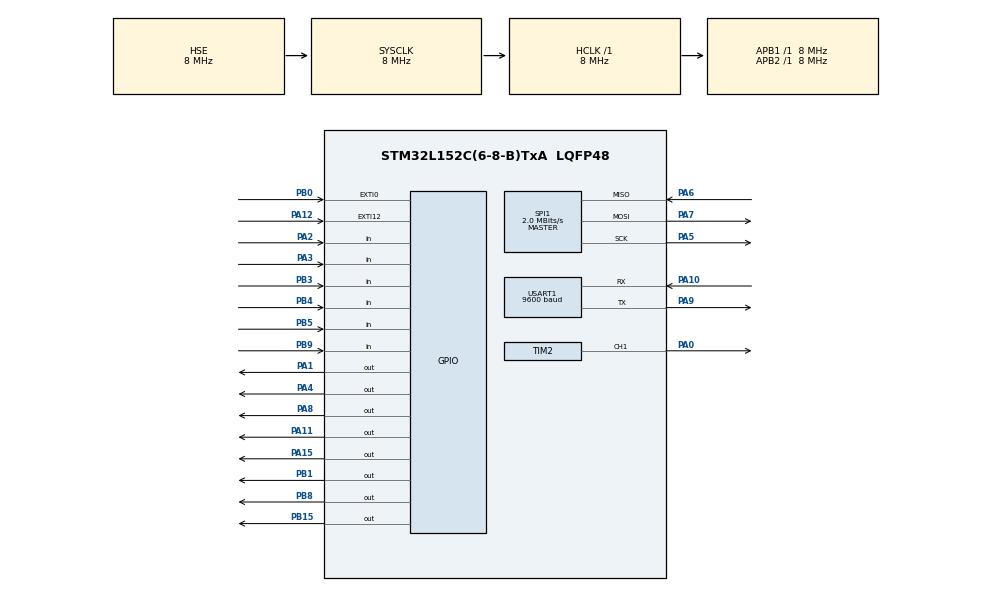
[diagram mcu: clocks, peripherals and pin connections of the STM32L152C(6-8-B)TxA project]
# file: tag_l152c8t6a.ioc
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Mcu.Family=STM32L1
Mcu.Name=STM32L152C(6-8-B)TxA
Mcu.Package=LQFP48
NVIC.EXTI0_IRQn=true\:0\:0\:false\:false\:true\:true\:true
NVIC.EXTI15_10_IRQn=true\:0\:0\:false\:false\:true\:true\:true
NVIC.PriorityGroup=NVIC_PRIORITYGROUP_4
NVIC.TIM4_IRQn=true\:0\:0\:false\:false\:true\:true\:true
NVIC.TIM6_IRQn=true\:0\:0\:false\:false\:true\:true\:true
NVIC.USART1_IRQn=true\:0\:0\:false\:false\:true\:true\:true
PA0-WKUP1.Signal=S_TIM2_CH1_ETR
PA1.GPIO_Speed=GPIO_SPEED_FREQ_VERY_HIGH
PA1.Signal=GPIO_Output
PA10.Mode=Asynchronous
PA10.Signal=USART1_RX
PA11.GPIO_PuPd=GPIO_PULLDOWN
PA11.GPIO_Speed=GPIO_SPEED_FREQ_VERY_HIGH
PA11.PinState=GPIO_PIN_RESET
PA11.Signal=GPIO_Output
PA12.Signal=GPXTI12
PA13.Mode=Serial_Wire
PA13.Signal=SYS_JTMS-SWDIO
PA14.Mode=Serial_Wire
PA14.Signal=SYS_JTCK-SWCLK
PA15.GPIO_Speed=GPIO_SPEED_FREQ_VERY_HIGH
PA15.Signal=GPIO_Output
PA2.Signal=GPIO_Input
PA3.Signal=GPIO_Input
PA4.Signal=GPIO_Output
PA5.Mode=Full_Duplex_Master
PA5.Signal=SPI1_SCK
PA6.Mode=Full_Duplex_Master
PA6.Signal=SPI1_MISO
PA7.Mode=Full_Duplex_Master
PA7.Signal=SPI1_MOSI
PA8.GPIO_PuPd=GPIO_PULLUP
PA8.GPIO_Speed=GPIO_SPEED_FREQ_HIGH
PA8.PinState=GPIO_PIN_SET
PA8.Signal=GPIO_Output
PA9.Mode=Asynchronous
PA9.Signal=USART1_TX
PB0.Signal=GPXTI0
PB1.GPIO_PuPd=GPIO_PULLUP
PB1.GPIO_Speed=GPIO_SPEED_FREQ_HIGH
PB1.PinState=GPIO_PIN_SET
PB1.Signal=GPIO_Output
PB15.Signal=GPIO_Output
PB3.Signal=GPIO_Input
PB4.Signal=GPIO_Input
PB5.Signal=GPIO_Input
PB8.GPIO_Speed=GPIO_SPEED_FREQ_VERY_HIGH
PB8.Signal=GPIO_Output
PB9.Signal=GPIO_Input
PH0-OSC_IN.Mode=HSE-External-Oscillator
PH0-OSC_IN.Signal=RCC_OSC_IN
PH1-OSC_OUT.Mode=HSE-External-Oscillator
PH1-OSC_OUT.Signal=RCC_OSC_OUT
ProjectManager.HeapSize=0x200
ProjectManager.StackSize=0x400
ProjectManager.TargetToolchain=MDK-ARM V5
RCC.48MHZClocksFreq_Value=24000000
RCC.AHBFreq_Value=8000000
RCC.APB1Freq_Value=8000000
RCC.APB1TimFreq_Value=8000000
RCC.APB2Freq_Value=8000000
RCC.APB2TimFreq_Value=8000000
RCC.HCLKFreq_Value=8000000
RCC.HSE_VALUE=8000000
RCC.HSI_VALUE=16000000
RCC.LSE_VALUE=32768
RCC.MSI_VALUE=2097000
RCC.PLLMUL=RCC_PLL_MUL6
RCC.PLLSourceVirtual=RCC_PLLSOURCE_HSE
RCC.SYSCLKFreq_VALUE=8000000
RCC.SYSCLKSource=RCC_SYSCLKSOURCE_HSE
RCC.VCOOutputFreq_Value=48000000
SH.S_TIM2_CH1_ETR.0=TIM2_CH1,PWM Generation1 CH1
SPI1.BaudRatePrescaler=SPI_BAUDRATEPRESCALER_4
SPI1.CalculateBaudRate=2.0 MBits/s
SPI1.Direction=SPI_DIRECTION_2LINES
SPI1.Mode=SPI_MODE_MASTER
SPI1.VirtualType=VM_MASTER
TIM2.AutoReloadPreload=TIM_AUTORELOAD_PRELOAD_ENABLE
TIM2.Channel-PWM\ Generation1\ CH1=TIM_CHANNEL_1
TIM2.Period=127
TIM2.Prescaler=15
TIM2.Pulse-PWM\ Generation1\ CH1=63
TIM3.Period=5
TIM3.Prescaler=3
TIM4.Period=999
TIM4.Prescaler=1
TIM6.Period=999
TIM6.Prescaler=23
USART1.BaudRate=9600
USART1.VirtualMode=VM_ASYNC
VP_TIM2_VS_ClockSourceINT.Mode=Internal
VP_TIM3_VS_ClockSourceINT.Mode=Internal
VP_TIM4_VS_ClockSourceINT.Mode=Internal
VP_TIM6_VS_ClockSourceINT.Mode=Enable_Timer
board=custom

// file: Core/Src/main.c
/* USER CODE BEGIN Header */
/**
  ******************************************************************************
  * @file           : main.c
  * @brief          : Main program body
  ******************************************************************************
  * @attention
  *
  * <h2><center>&copy; Copyright (c) 2020 STMicroelectronics.
  * All rights reserved.</center></h2>
  *
  * This software component is licensed by ST under BSD 3-Clause license,
  * the "License"; You may not use this file except in compliance with the
  * License. You may obtain a copy of the License at:
  *                        opensource.org/licenses/BSD-3-Clause
  *
  ******************************************************************************
  */
/* USER CODE END Header */
#include "main.h"

/* USER CODE BEGIN Includes */
#include "string.h"
#include <string.h>
#include <stdint.h>
#include <stdbool.h>
#include "radio.h"
#include "platform.h"
#include "sx1276-Hal.h"
#include "stm32f10x_type.h"
#include <stdlib.h>

#define BUFFER_SIZE                                 18 // Define the payload size here
#define MAX_USER                                    5
#define TIME_GAP                                    1000 //ms

#define RX_TIMMER_SYNC                              2 // byte position of sync time
#define SENSOR_BYTE                                 7
#define SENSOR_TIMEOUT															500 //ms
extern volatile uint32_t TickCounter_NTZ;
extern volatile uint32_t TickCounter;
static uint16_t BufferSize = BUFFER_SIZE;			// RF buffer size
static uint8_t Buffer[BUFFER_SIZE];					// RF buffer
static uint8_t EnableMaster = true; 				// Master/Slave selection
tRadioDriver *Radio = NULL;
const uint8_t PingMsg[] = "1234";
const uint8_t PongMsg[] = "5678";
uint8_t tx_cmd = 0;

volatile uint32_t TxTimer;

/* USER CODE END Includes */

SPI_HandleTypeDef hspi1;

TIM_HandleTypeDef htim2;
TIM_HandleTypeDef htim3;
TIM_HandleTypeDef htim4;
TIM_HandleTypeDef htim6;

UART_HandleTypeDef huart1;

void SystemClock_Config(void);
static void MX_GPIO_Init(void);
static void MX_SPI1_Init(void);
static void MX_USART1_UART_Init(void);
static void MX_TIM3_Init(void);
static void MX_TIM4_Init(void);
static void MX_TIM6_Init(void);
static void MX_TIM2_Init(void);

/* USER CODE BEGIN 0 */
//char txBuf1[18] = {'5','0','8','7','9',0xff,'5','0','8','7','9',0xff,'5','0','8','7','9',0xff};
char txBuf1[18] = {'4','3','3','0','0','0'};

char txBuf2[20] = "hello fuck world";
char rxBuf1[7] = "11111";
char rxBuf2[20];
char rcv_flag1 = 0;
char rcv_flag2 = 0;
volatile char read_over = 0;

void HAL_UART_RxCpltCallback(UART_HandleTypeDef *huart)
{
  /* Prevent unused argument(s) compilation warning */
  UNUSED(huart);
	if(huart == &huart1){
		//HAL_UART_Receive_IT(&huart1, (uint8_t *)rxBuf1, SENSOR_BYTE);
		read_over = 1;
	}
//	else if(huart == &huart2){
//		HAL_UART_Transmit(&huart2, (uint8_t *)rxBuf2, strlen(txBuf2), 0xffff);
//		memset(rxBuf2,0, strlen(txBuf1));
//		HAL_UART_Receive_IT(&huart2, (uint8_t *)rxBuf2, 10);
//	}
}

/*
 * Manages the slave operation
 */
void OnSlave( void )
{
    uint8_t i;
		static uint32_t time_pos_sec,time_pos_ms = 0;    //send message on time_pos sec
    while(Radio->Process()==RF_RX_DONE){
        Radio->GetRxPacket( Buffer, ( uint16_t* )&BufferSize );
				//HAL_UART_Transmit(&huart1, (uint8_t *)Buffer, strlen(Buffer), 0xffff);
				if(strcmp((const char *)Buffer,txBuf1)==0){
					//connection established
					toggle_led();
					TickCounter = Buffer[RX_TIMMER_SYNC] * TIME_GAP;
					time_pos_ms = time_pos_sec * TIME_GAP;
				}else{
				//connection lost, retreat rand sec, range from (0,MAX_USER-1)
					srand(TickCounter_NTZ);
					time_pos_ms = TickCounter + rand()%MAX_USER*1000;
				}

				if(TickCounter-time_pos_ms >= MAX_USER*TIME_GAP){
					TickCounter = time_pos_ms;

					Buffer[0] = '5';
					Buffer[1] = '0';
					Buffer[2] = '9';
					Buffer[3] = '7';
					Buffer[4] = '9';
					Buffer[5] = 0xfe;
					// We fill the buffer with numbers for the payload
					Radio->SetTxPacket( Buffer, 6 );
					toggle_led();
				}
		}

    switch( Radio->Process( ) )
    {
    case RF_RX_DONE:
        Radio->GetRxPacket( Buffer, ( uint16_t* )&BufferSize );
				HAL_UART_Transmit(&huart1, (uint8_t *)Buffer, strlen(Buffer), 0xffff);
        if( BufferSize > 0 )
        {
            if( strncmp( ( const char* )Buffer, ( const char* )PingMsg, 4 ) == 0 )
            {
                // Indicates on a LED that the received frame is a PING
                //LedToggle( LED_GREEN );

               // Send the reply to the PONG string
                Buffer[0] = '5';
                Buffer[1] = '6';
                Buffer[2] = '7';
                Buffer[3] = '8';
                // We fill the buffer with numbers for the payload
                for( i = 4; i < BufferSize; i++ )
                {
                    Buffer[i] = i - 4;
                }

                Radio->SetTxPacket( Buffer, BufferSize );
            }
        }
        break;
    case RF_TX_DONE:
        // Indicates on a LED that we have sent a PONG
        //LedToggle( LED_RED );
        Radio->StartRx( );
        break;
    default:
        break;
    }
}

/*
 * Manages the master operation
 */
void OnMaster( void )
{
    uint8_t i,sensor_is_timeout;
		uint32_t tickstart;
    while(1){
				if(TickCounter-TxTimer>=100){  // 245(SF10)320 /  60(SF8)
					TxTimer = TickCounter;
					//Without sensor.
					/*
					Radio->SetTxPacket( txBuf1, SENSOR_BYTE-1 );
					toggle_led();
					*/
					//Connect sensor

					//tri_sensor();
//					while(read_over==0)
//						if(TickCounter-TxTimer>=SENSOR_TIMEOUT)
//							break;

					sensor_is_timeout = (TickCounter-TxTimer>=SENSOR_TIMEOUT);
					sensor_is_timeout = 1;

					read_over=0;
					HAL_UART_Receive_IT(&huart1, (uint8_t *)rxBuf1, SENSOR_BYTE);
					if(0==sensor_is_timeout){
						if(rxBuf1[0]!=0x00)
								Radio->SetTxPacket( rxBuf1, SENSOR_BYTE-1 );
						else
							Radio->SetTxPacket( rxBuf1+1, SENSOR_BYTE-1 );
						toggle_led();
					}
					else
					{
						char timeout_buf[] = "_nope";
						Radio->SetTxPacket( timeout_buf, SENSOR_BYTE-1 );
					}
					memset(rxBuf1,0, SENSOR_BYTE);

				}
			Radio->Process( );
		}

    switch( Radio->Process( ) )
    {
    case RF_RX_TIMEOUT:
        // Send the next PING frame
        Buffer[0] = '1';
        Buffer[1] = '2';
        Buffer[2] = '3';
        Buffer[3] = '4';
        Buffer[4] = '1';
        Buffer[5] = '2';

				Radio->SetTxPacket( Buffer, BufferSize );
//        for( i = 4; i < BufferSize; i++ )
//        {
//            Buffer[i] = i - 4;
//        }
//        Radio->SetTxPacket( Buffer, BufferSize );
        break;
    case RF_RX_DONE:
        Radio->GetRxPacket( Buffer, ( uint16_t* )&BufferSize );

        if( BufferSize > 0 )
        {
						HAL_UART_Transmit(&huart1, (uint8_t *)Buffer, strlen(Buffer), 0xffff);
            if( strncmp( ( const char* )Buffer, ( const char* )PongMsg, 4 ) == 0 )
            {
                // Indicates on a LED that the received frame is a PONG
                //LedToggle( LED_GREEN );

                // Send the next PING frame
                Buffer[0] = '1';
                Buffer[1] = '2';
                Buffer[2] = '3';
                Buffer[3] = '4';
                // We fill the buffer with numbers for the payload
                for( i = 4; i < BufferSize; i++ )
                {
                    Buffer[i] = i - 4;
                }
                Radio->SetTxPacket( Buffer, BufferSize );
            }
            else if( strncmp( ( const char* )Buffer, ( const char* )PingMsg, 4 ) == 0 )
            { // A master already exists then become a slave
                EnableMaster = false;
                //LedOff( LED_RED );
            }
        }
        break;
    case RF_TX_DONE:
        // Indicates on a LED that we have sent a PING
        //LedToggle( LED_RED );
        Radio->StartRx( );
        break;
    default:
        break;
    }
}

/* USER CODE END 0 */

int main(void)
{

  /* MCU Configuration--------------------------------------------------------*/

  /* Reset of all peripherals, Initializes the Flash interface and the Systick. */
  HAL_Init();

  /* Configure the system clock */
  SystemClock_Config();

  /* Initialize all configured peripherals */
  MX_GPIO_Init();
  MX_SPI1_Init();
  MX_USART1_UART_Init();
  MX_TIM3_Init();
  MX_TIM4_Init();
  MX_TIM6_Init();
  MX_TIM2_Init();
  /* USER CODE BEGIN 2 */

	//HAL_TIM_PWM_Start(&htim22, TIM_CHANNEL_1);
//	HAL_TIM_PWM_Start(&htim2, TIM_CHANNEL_1);
	//__HAL_TIM_SET_COMPARE(&htim22, TIM_CHANNEL_1, 3);
	//__HAL_TIM_SET_COMPARE(&htim2, TIM_CHANNEL_2, 3);

//while(1);
	//HAL_UART_Transmit(&huart1, (uint8_t *)txBuf1, strlen(txBuf1), 0xffff);
//	HAL_UART_Transmit(&huart2, (uint8_t *)txBuf2, strlen(txBuf2), 0xffff);
	//HAL_UART_Receive_IT(&huart1, (uint8_t *)rxBuf1, SENSOR_BYTE);
//	HAL_UART_Receive_IT(&huart2, (uint8_t *)rxBuf2, 10);

	Radio = RadioDriverInit( );
	Radio->Init( );
	Radio->StartRx( );

	HAL_TIM_Base_Start_IT(&htim4);

  /* USER CODE END 2 */

  /* Infinite loop */
  while (1)
  {

    /* USER CODE BEGIN 3 */
		if( EnableMaster == true )
        {
            OnMaster( );
        }
        else
        {
            OnSlave( );
        }
		}
  /* USER CODE END 3 */
}

void SystemClock_Config(void)
{
  RCC_OscInitTypeDef RCC_OscInitStruct = {0};
  RCC_ClkInitTypeDef RCC_ClkInitStruct = {0};

  /** Configure the main internal regulator output voltage
  */
  __HAL_PWR_VOLTAGESCALING_CONFIG(PWR_REGULATOR_VOLTAGE_SCALE1);
  /** Initializes the RCC Oscillators according to the specified parameters
  * in the RCC_OscInitTypeDef structure.
  */
  RCC_OscInitStruct.OscillatorType = RCC_OSCILLATORTYPE_HSE;
  RCC_OscInitStruct.HSEState = RCC_HSE_ON;
  RCC_OscInitStruct.PLL.PLLState = RCC_PLL_NONE;
  if (HAL_RCC_OscConfig(&RCC_OscInitStruct) != HAL_OK)
  {
    Error_Handler();
  }
  /** Initializes the CPU, AHB and APB buses clocks
  */
  RCC_ClkInitStruct.ClockType = RCC_CLOCKTYPE_HCLK|RCC_CLOCKTYPE_SYSCLK
                              |RCC_CLOCKTYPE_PCLK1|RCC_CLOCKTYPE_PCLK2;
  RCC_ClkInitStruct.SYSCLKSource = RCC_SYSCLKSOURCE_HSE;
  RCC_ClkInitStruct.AHBCLKDivider = RCC_SYSCLK_DIV1;
  RCC_ClkInitStruct.APB1CLKDivider = RCC_HCLK_DIV1;
  RCC_ClkInitStruct.APB2CLKDivider = RCC_HCLK_DIV1;

  if (HAL_RCC_ClockConfig(&RCC_ClkInitStruct, FLASH_LATENCY_0) != HAL_OK)
  {
    Error_Handler();
  }
}

static void MX_SPI1_Init(void)
{

  /* SPI1 parameter configuration*/
  hspi1.Instance = SPI1;
  hspi1.Init.Mode = SPI_MODE_MASTER;
  hspi1.Init.Direction = SPI_DIRECTION_2LINES;
  hspi1.Init.DataSize = SPI_DATASIZE_8BIT;
  hspi1.Init.CLKPolarity = SPI_POLARITY_LOW;
  hspi1.Init.CLKPhase = SPI_PHASE_1EDGE;
  hspi1.Init.NSS = SPI_NSS_SOFT;
  hspi1.Init.BaudRatePrescaler = SPI_BAUDRATEPRESCALER_4;
  hspi1.Init.FirstBit = SPI_FIRSTBIT_MSB;
  hspi1.Init.TIMode = SPI_TIMODE_DISABLE;
  hspi1.Init.CRCCalculation = SPI_CRCCALCULATION_DISABLE;
  hspi1.Init.CRCPolynomial = 10;
  if (HAL_SPI_Init(&hspi1) != HAL_OK)
  {
    Error_Handler();
  }

}

static void MX_TIM2_Init(void)
{

  TIM_ClockConfigTypeDef sClockSourceConfig = {0};
  TIM_MasterConfigTypeDef sMasterConfig = {0};
  TIM_OC_InitTypeDef sConfigOC = {0};

  htim2.Instance = TIM2;
  htim2.Init.Prescaler = 15;
  htim2.Init.CounterMode = TIM_COUNTERMODE_UP;
  htim2.Init.Period = 127;
  htim2.Init.ClockDivision = TIM_CLOCKDIVISION_DIV1;
  htim2.Init.AutoReloadPreload = TIM_AUTORELOAD_PRELOAD_ENABLE;
  if (HAL_TIM_Base_Init(&htim2) != HAL_OK)
  {
    Error_Handler();
  }
  sClockSourceConfig.ClockSource = TIM_CLOCKSOURCE_INTERNAL;
  if (HAL_TIM_ConfigClockSource(&htim2, &sClockSourceConfig) != HAL_OK)
  {
    Error_Handler();
  }
  if (HAL_TIM_PWM_Init(&htim2) != HAL_OK)
  {
    Error_Handler();
  }
  sMasterConfig.MasterOutputTrigger = TIM_TRGO_RESET;
  sMasterConfig.MasterSlaveMode = TIM_MASTERSLAVEMODE_DISABLE;
  if (HAL_TIMEx_MasterConfigSynchronization(&htim2, &sMasterConfig) != HAL_OK)
  {
    Error_Handler();
  }
  sConfigOC.OCMode = TIM_OCMODE_PWM1;
  sConfigOC.Pulse = 63;
  sConfigOC.OCPolarity = TIM_OCPOLARITY_HIGH;
  sConfigOC.OCFastMode = TIM_OCFAST_DISABLE;
  if (HAL_TIM_PWM_ConfigChannel(&htim2, &sConfigOC, TIM_CHANNEL_1) != HAL_OK)
  {
    Error_Handler();
  }
  HAL_TIM_MspPostInit(&htim2);

}

static void MX_TIM3_Init(void)
{

  TIM_ClockConfigTypeDef sClockSourceConfig = {0};
  TIM_MasterConfigTypeDef sMasterConfig = {0};

  htim3.Instance = TIM3;
  htim3.Init.Prescaler = 3;
  htim3.Init.CounterMode = TIM_COUNTERMODE_UP;
  htim3.Init.Period = 5;
  htim3.Init.ClockDivision = TIM_CLOCKDIVISION_DIV1;
  htim3.Init.AutoReloadPreload = TIM_AUTORELOAD_PRELOAD_DISABLE;
  if (HAL_TIM_Base_Init(&htim3) != HAL_OK)
  {
    Error_Handler();
  }
  sClockSourceConfig.ClockSource = TIM_CLOCKSOURCE_INTERNAL;
  if (HAL_TIM_ConfigClockSource(&htim3, &sClockSourceConfig) != HAL_OK)
  {
    Error_Handler();
  }
  sMasterConfig.MasterOutputTrigger = TIM_TRGO_RESET;
  sMasterConfig.MasterSlaveMode = TIM_MASTERSLAVEMODE_DISABLE;
  if (HAL_TIMEx_MasterConfigSynchronization(&htim3, &sMasterConfig) != HAL_OK)
  {
    Error_Handler();
  }

}

static void MX_TIM4_Init(void)
{

  TIM_ClockConfigTypeDef sClockSourceConfig = {0};
  TIM_MasterConfigTypeDef sMasterConfig = {0};

  htim4.Instance = TIM4;
  htim4.Init.Prescaler = 1;
  htim4.Init.CounterMode = TIM_COUNTERMODE_UP;
  htim4.Init.Period = 999;
  htim4.Init.ClockDivision = TIM_CLOCKDIVISION_DIV1;
  htim4.Init.AutoReloadPreload = TIM_AUTORELOAD_PRELOAD_DISABLE;
  if (HAL_TIM_Base_Init(&htim4) != HAL_OK)
  {
    Error_Handler();
  }
  sClockSourceConfig.ClockSource = TIM_CLOCKSOURCE_INTERNAL;
  if (HAL_TIM_ConfigClockSource(&htim4, &sClockSourceConfig) != HAL_OK)
  {
    Error_Handler();
  }
  sMasterConfig.MasterOutputTrigger = TIM_TRGO_RESET;
  sMasterConfig.MasterSlaveMode = TIM_MASTERSLAVEMODE_DISABLE;
  if (HAL_TIMEx_MasterConfigSynchronization(&htim4, &sMasterConfig) != HAL_OK)
  {
    Error_Handler();
  }

}

static void MX_TIM6_Init(void)
{

  TIM_MasterConfigTypeDef sMasterConfig = {0};

  htim6.Instance = TIM6;
  htim6.Init.Prescaler = 23;
  htim6.Init.CounterMode = TIM_COUNTERMODE_UP;
  htim6.Init.Period = 999;
  htim6.Init.AutoReloadPreload = TIM_AUTORELOAD_PRELOAD_DISABLE;
  if (HAL_TIM_Base_Init(&htim6) != HAL_OK)
  {
    Error_Handler();
  }
  sMasterConfig.MasterOutputTrigger = TIM_TRGO_RESET;
  sMasterConfig.MasterSlaveMode = TIM_MASTERSLAVEMODE_DISABLE;
  if (HAL_TIMEx_MasterConfigSynchronization(&htim6, &sMasterConfig) != HAL_OK)
  {
    Error_Handler();
  }

}

static void MX_USART1_UART_Init(void)
{

  huart1.Instance = USART1;
  huart1.Init.BaudRate = 9600;
  huart1.Init.WordLength = UART_WORDLENGTH_8B;
  huart1.Init.StopBits = UART_STOPBITS_1;
  huart1.Init.Parity = UART_PARITY_NONE;
  huart1.Init.Mode = UART_MODE_TX_RX;
  huart1.Init.HwFlowCtl = UART_HWCONTROL_NONE;
  huart1.Init.OverSampling = UART_OVERSAMPLING_16;
  if (HAL_UART_Init(&huart1) != HAL_OK)
  {
    Error_Handler();
  }

}

static void MX_GPIO_Init(void)
{
  GPIO_InitTypeDef GPIO_InitStruct = {0};

  /* GPIO Ports Clock Enable */
  __HAL_RCC_GPIOH_CLK_ENABLE();
  __HAL_RCC_GPIOA_CLK_ENABLE();
  __HAL_RCC_GPIOB_CLK_ENABLE();

  /*Configure GPIO pin Output Level */
  HAL_GPIO_WritePin(GPIOA, GPIO_PIN_1|GPIO_PIN_4|GPIO_PIN_11|GPIO_PIN_15, GPIO_PIN_RESET);

  /*Configure GPIO pin Output Level */
  HAL_GPIO_WritePin(GPIOB, GPIO_PIN_1, GPIO_PIN_SET);

  /*Configure GPIO pin Output Level */
  HAL_GPIO_WritePin(GPIOB, GPIO_PIN_15|GPIO_PIN_8, GPIO_PIN_RESET);

  /*Configure GPIO pin Output Level */
  HAL_GPIO_WritePin(GPIOA, GPIO_PIN_8, GPIO_PIN_SET);

  /*Configure GPIO pins : PA1 PA15 */
  GPIO_InitStruct.Pin = GPIO_PIN_1|GPIO_PIN_15;
  GPIO_InitStruct.Mode = GPIO_MODE_OUTPUT_PP;
  GPIO_InitStruct.Pull = GPIO_NOPULL;
  GPIO_InitStruct.Speed = GPIO_SPEED_FREQ_VERY_HIGH;
  HAL_GPIO_Init(GPIOA, &GPIO_InitStruct);

  /*Configure GPIO pins : PA2 PA3 */
  GPIO_InitStruct.Pin = GPIO_PIN_2|GPIO_PIN_3;
  GPIO_InitStruct.Mode = GPIO_MODE_INPUT;
  GPIO_InitStruct.Pull = GPIO_NOPULL;
  HAL_GPIO_Init(GPIOA, &GPIO_InitStruct);

  /*Configure GPIO pin : PA4 */
  GPIO_InitStruct.Pin = GPIO_PIN_4;
  GPIO_InitStruct.Mode = GPIO_MODE_OUTPUT_PP;
  GPIO_InitStruct.Pull = GPIO_NOPULL;
  GPIO_InitStruct.Speed = GPIO_SPEED_FREQ_LOW;
  HAL_GPIO_Init(GPIOA, &GPIO_InitStruct);

  /*Configure GPIO pin : PB0 */
  GPIO_InitStruct.Pin = GPIO_PIN_0;
  GPIO_InitStruct.Mode = GPIO_MODE_IT_RISING;
  GPIO_InitStruct.Pull = GPIO_NOPULL;
  HAL_GPIO_Init(GPIOB, &GPIO_InitStruct);

  /*Configure GPIO pin : PB1 */
  GPIO_InitStruct.Pin = GPIO_PIN_1;
  GPIO_InitStruct.Mode = GPIO_MODE_OUTPUT_PP;
  GPIO_InitStruct.Pull = GPIO_PULLUP;
  GPIO_InitStruct.Speed = GPIO_SPEED_FREQ_HIGH;
  HAL_GPIO_Init(GPIOB, &GPIO_InitStruct);

  /*Configure GPIO pin : PB15 */
  GPIO_InitStruct.Pin = GPIO_PIN_15;
  GPIO_InitStruct.Mode = GPIO_MODE_OUTPUT_PP;
  GPIO_InitStruct.Pull = GPIO_NOPULL;
  GPIO_InitStruct.Speed = GPIO_SPEED_FREQ_LOW;
  HAL_GPIO_Init(GPIOB, &GPIO_InitStruct);

  /*Configure GPIO pin : PA8 */
  GPIO_InitStruct.Pin = GPIO_PIN_8;
  GPIO_InitStruct.Mode = GPIO_MODE_OUTPUT_PP;
  GPIO_InitStruct.Pull = GPIO_PULLUP;
  GPIO_InitStruct.Speed = GPIO_SPEED_FREQ_HIGH;
  HAL_GPIO_Init(GPIOA, &GPIO_InitStruct);

  /*Configure GPIO pin : PA11 */
  GPIO_InitStruct.Pin = GPIO_PIN_11;
  GPIO_InitStruct.Mode = GPIO_MODE_OUTPUT_PP;
  GPIO_InitStruct.Pull = GPIO_PULLDOWN;
  GPIO_InitStruct.Speed = GPIO_SPEED_FREQ_VERY_HIGH;
  HAL_GPIO_Init(GPIOA, &GPIO_InitStruct);

  /*Configure GPIO pin : PA12 */
  GPIO_InitStruct.Pin = GPIO_PIN_12;
  GPIO_InitStruct.Mode = GPIO_MODE_IT_RISING;
  GPIO_InitStruct.Pull = GPIO_NOPULL;
  HAL_GPIO_Init(GPIOA, &GPIO_InitStruct);

  /*Configure GPIO pins : PB3 PB4 PB5 PB9 */
  GPIO_InitStruct.Pin = GPIO_PIN_3|GPIO_PIN_4|GPIO_PIN_5|GPIO_PIN_9;
  GPIO_InitStruct.Mode = GPIO_MODE_INPUT;
  GPIO_InitStruct.Pull = GPIO_NOPULL;
  HAL_GPIO_Init(GPIOB, &GPIO_InitStruct);

  /*Configure GPIO pin : PB8 */
  GPIO_InitStruct.Pin = GPIO_PIN_8;
  GPIO_InitStruct.Mode = GPIO_MODE_OUTPUT_PP;
  GPIO_InitStruct.Pull = GPIO_NOPULL;
  GPIO_InitStruct.Speed = GPIO_SPEED_FREQ_VERY_HIGH;
  HAL_GPIO_Init(GPIOB, &GPIO_InitStruct);

  /* EXTI interrupt init*/
  HAL_NVIC_SetPriority(EXTI0_IRQn, 0, 0);
  HAL_NVIC_EnableIRQ(EXTI0_IRQn);

  HAL_NVIC_SetPriority(EXTI15_10_IRQn, 0, 0);
  HAL_NVIC_EnableIRQ(EXTI15_10_IRQn);

}

void Error_Handler(void)
{
}

/************************ (C) COPYRIGHT STMicroelectronics *****END OF FILE****/
